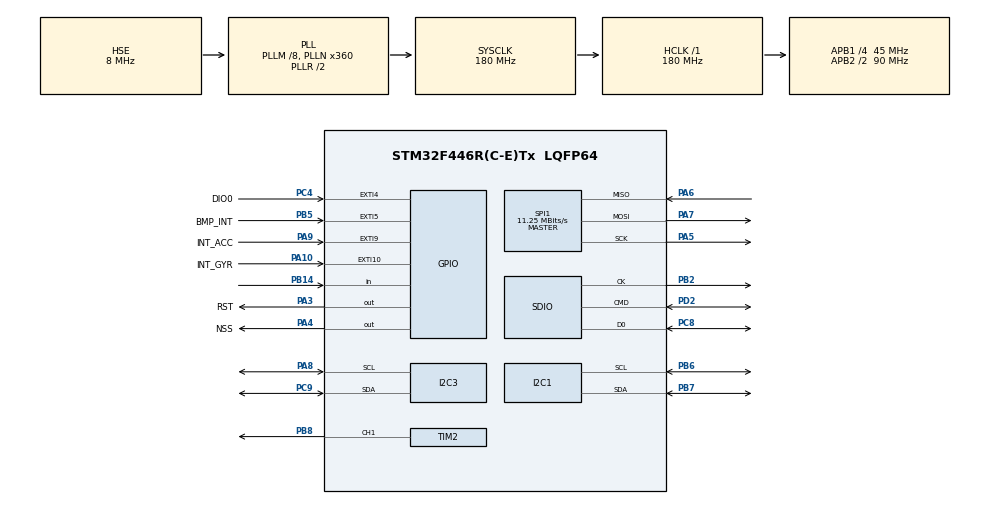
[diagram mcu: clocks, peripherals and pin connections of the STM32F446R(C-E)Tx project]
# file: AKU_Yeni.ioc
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Dma.Request0=SDIO_RX
Dma.Request1=SDIO_TX
Dma.SDIO_RX.0.Direction=DMA_PERIPH_TO_MEMORY
Dma.SDIO_RX.0.FIFOMode=DMA_FIFOMODE_ENABLE
Dma.SDIO_RX.0.FIFOThreshold=DMA_FIFO_THRESHOLD_FULL
Dma.SDIO_RX.0.Instance=DMA2_Stream3
Dma.SDIO_RX.0.MemBurst=DMA_MBURST_INC4
Dma.SDIO_RX.0.MemDataAlignment=DMA_MDATAALIGN_WORD
Dma.SDIO_RX.0.MemInc=DMA_MINC_ENABLE
Dma.SDIO_RX.0.Mode=DMA_PFCTRL
Dma.SDIO_RX.0.PeriphBurst=DMA_PBURST_INC4
Dma.SDIO_RX.0.PeriphDataAlignment=DMA_PDATAALIGN_WORD
Dma.SDIO_RX.0.PeriphInc=DMA_PINC_DISABLE
Dma.SDIO_RX.0.Priority=DMA_PRIORITY_HIGH
Dma.SDIO_TX.1.Direction=DMA_MEMORY_TO_PERIPH
Dma.SDIO_TX.1.FIFOMode=DMA_FIFOMODE_ENABLE
Dma.SDIO_TX.1.FIFOThreshold=DMA_FIFO_THRESHOLD_FULL
Dma.SDIO_TX.1.Instance=DMA2_Stream6
Dma.SDIO_TX.1.MemBurst=DMA_MBURST_INC4
Dma.SDIO_TX.1.MemDataAlignment=DMA_MDATAALIGN_WORD
Dma.SDIO_TX.1.MemInc=DMA_MINC_ENABLE
Dma.SDIO_TX.1.Mode=DMA_PFCTRL
Dma.SDIO_TX.1.PeriphBurst=DMA_PBURST_INC4
Dma.SDIO_TX.1.PeriphDataAlignment=DMA_PDATAALIGN_WORD
Dma.SDIO_TX.1.PeriphInc=DMA_PINC_DISABLE
Dma.SDIO_TX.1.Priority=DMA_PRIORITY_HIGH
FATFS.BSP.number=1
FATFS._FS_EXFAT=1
FATFS._USE_LFN=2
FATFS._USE_MUTEX=1
FATFS0.BSP.STBoard=false
FATFS0.BSP.api=Unknown
FATFS0.BSP.instance=PB14
FATFS0.BSP.ip=GPIO
FATFS0.BSP.mode=Input
FATFS0.BSP.name=Detect_SDIO
FATFS0.BSP.solution=PB14
FREERTOS.Tasks01=defaultTask,0,512,StartDefaultTask,Default,NULL,Dynamic,NULL,NULL;YRT_BMI088,-1,512,BMI088_fonk,Default,NULL,Dynamic,NULL,NULL;YRT_BMP581,0,512,BMP581_fonk,Default,NULL,Dynamic,NULL,NULL;YRT_TRANSMIT,1,512,Transmit_veri,Default,NULL,Dynamic,NULL,NULL;YRT_SDCARD,0,512,SDfonk,Default,NULL,Dynamic,NULL,NULL;YRT_ServoMotor,0,512,servo_fonk,Default,NULL,Dynamic,NULL,NULL
FREERTOS.configMINIMAL_STACK_SIZE=512
FREERTOS.configUSE_IDLE_HOOK=1
FREERTOS.configUSE_MALLOC_FAILED_HOOK=1
FREERTOS.configUSE_NEWLIB_REENTRANT=1
FREERTOS.configUSE_TICK_HOOK=1
Mcu.Family=STM32F4
Mcu.Name=STM32F446R(C-E)Tx
Mcu.Package=LQFP64
NVIC.DMA2_Stream3_IRQn=true\:5\:0\:false\:false\:true\:true\:false\:true\:true
NVIC.DMA2_Stream6_IRQn=true\:5\:0\:false\:false\:true\:true\:false\:true\:true
NVIC.PriorityGroup=NVIC_PRIORITYGROUP_4
NVIC.SDIO_IRQn=true\:5\:0\:false\:false\:true\:true\:true\:true\:true
NVIC.SPI1_IRQn=true\:5\:0\:false\:false\:true\:true\:true\:true\:true
NVIC.TIM1_UP_TIM10_IRQn=true\:15\:0\:false\:false\:true\:false\:false\:true\:true
NVIC.TimeBase=TIM1_UP_TIM10_IRQn
NVIC.TimeBaseIP=TIM1
PA10.GPIO_Label=INT_GYR
PA10.Signal=GPXTI10
PA13.Mode=Serial_Wire
PA13.Signal=SYS_JTMS-SWDIO
PA14.Mode=Serial_Wire
PA14.Signal=SYS_JTCK-SWCLK
PA3.GPIO_Label=RST
PA3.PinState=GPIO_PIN_SET
PA3.Signal=GPIO_Output
PA4.GPIO_Label=NSS
PA4.PinState=GPIO_PIN_SET
PA4.Signal=GPIO_Output
PA5.Mode=Full_Duplex_Master
PA5.Signal=SPI1_SCK
PA6.Mode=Full_Duplex_Master
PA6.Signal=SPI1_MISO
PA7.Mode=Full_Duplex_Master
PA7.Signal=SPI1_MOSI
PA8.GPIO_Pu=GPIO_PULLUP
PA8.Mode=I2C
PA8.Signal=I2C3_SCL
PA9.GPIO_Label=INT_ACC
PA9.Signal=GPXTI9
PB14.GPIO_PuPd=GPIO_PULLDOWN
PB14.Signal=GPIO_Input
PB2.GPIO_PuPd=GPIO_PULLUP
PB2.GPIO_Speed_High_Default=GPIO_SPEED_FREQ_VERY_HIGH
PB2.Mode=SD_1_bit
PB2.Signal=SDIO_CK
PB5.GPIO_Label=BMP_INT
PB5.Signal=GPXTI5
PB6.GPIO_Pu=GPIO_PULLUP
PB6.Mode=I2C
PB6.Signal=I2C1_SCL
PB7.GPIO_Pu=GPIO_PULLUP
PB7.Mode=I2C
PB7.Signal=I2C1_SDA
PB8.Signal=S_TIM2_CH1_ETR
PC4.GPIO_Label=DIO0
PC4.Signal=GPXTI4
PC8.GPIO_PuPd=GPIO_PULLUP
PC8.GPIO_Speed_High_Default=GPIO_SPEED_FREQ_VERY_HIGH
PC8.Mode=SD_1_bit
PC8.Signal=SDIO_D0
PC9.GPIO_Pu=GPIO_PULLUP
PC9.Mode=I2C
PC9.Signal=I2C3_SDA
PD2.GPIO_PuPd=GPIO_NOPULL
PD2.GPIO_Speed_High_Default=GPIO_SPEED_FREQ_VERY_HIGH
PD2.Mode=SD_1_bit
PD2.Signal=SDIO_CMD
PH0-OSC_IN.Mode=HSE-External-Oscillator
PH0-OSC_IN.Signal=RCC_OSC_IN
PH1-OSC_OUT.Mode=HSE-External-Oscillator
PH1-OSC_OUT.Signal=RCC_OSC_OUT
ProjectManager.HeapSize=0x200
ProjectManager.StackSize=0x400
ProjectManager.TargetToolchain=STM32CubeIDE
RCC.AHBFreq_Value=180000000
RCC.APB1CLKDivider=RCC_HCLK_DIV4
RCC.APB1Freq_Value=45000000
RCC.APB1TimFreq_Value=90000000
RCC.APB2CLKDivider=RCC_HCLK_DIV2
RCC.APB2Freq_Value=90000000
RCC.APB2TimFreq_Value=180000000
RCC.CortexFreq_Value=180000000
RCC.HCLKFreq_Value=180000000
RCC.HSE_VALUE=8000000
RCC.PLLM=8
RCC.PLLN=360
RCC.PLLQ=7
RCC.PLLSAIP=RCC_PLLSAIP_DIV4
RCC.PLLSourceVirtual=RCC_PLLSOURCE_HSE
RCC.SYSCLKFreq_VALUE=180000000
RCC.SYSCLKSource=RCC_SYSCLKSOURCE_PLLRCLK
RCC.USBFreq_Value=51428571.428571425
RCC.VCOOutputFreq_Value=360000000
SH.S_TIM2_CH1_ETR.0=TIM2_CH1,PWM Generation1 CH1
SPI1.BaudRatePrescaler=SPI_BAUDRATEPRESCALER_8
SPI1.CalculateBaudRate=11.25 MBits/s
SPI1.Direction=SPI_DIRECTION_2LINES
SPI1.Mode=SPI_MODE_MASTER
SPI1.VirtualType=VM_MASTER
TIM2.Channel-PWM\ Generation1\ CH1=TIM_CHANNEL_1
TIM2.Period=8400-1
TIM2.Prescaler=1680-1
VP_FATFS_VS_SDIO.Mode=SDIO
VP_FREERTOS_VS_CMSIS_V1.Mode=CMSIS_V1
VP_SYS_VS_tim1.Mode=TIM1
VP_TIM2_VS_ClockSourceINT.Mode=Internal
board=custom

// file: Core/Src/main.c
/* USER CODE BEGIN Header */
/**
  ******************************************************************************
  * @file           : main.c
  * @brief          : Main program body
  ******************************************************************************
  * @attention
  *
  * Copyright (c) 2025 STMicroelectronics.
  * All rights reserved.
  *
  * This software is licensed under terms that can be found in the LICENSE file
  * in the root directory of this software component.
  * If no LICENSE file comes with this software, it is provided AS-IS.
  *
  ******************************************************************************
  */
/* USER CODE END Header */
#include "main.h"
#include "cmsis_os.h"
#include "dma.h"
#include "fatfs.h"
#include "i2c.h"
#include "sdio.h"
#include "spi.h"
#include "tim.h"
#include "gpio.h"

void SystemClock_Config(void);
void MX_FREERTOS_Init(void);

/* USER CODE BEGIN 0 */
void Set_Servo_Angle (TIM_HandleTypeDef *htim, uint32_t channel, uint8_t angle){
	uint32_t pulse_lenght = 210 + (angle*(1050-210)/180);
	__HAL_TIM_SET_COMPARE(htim,channel,pulse_lenght);
}
/* USER CODE END 0 */

int main(void)
{

  /* MCU Configuration--------------------------------------------------------*/

  /* Reset of all peripherals, Initializes the Flash interface and the Systick. */
  HAL_Init();

  /* Configure the system clock */
  SystemClock_Config();

  /* Initialize all configured peripherals */
  MX_GPIO_Init();
  MX_DMA_Init();
  MX_I2C1_Init();
  MX_I2C3_Init();
  MX_SPI1_Init();
  MX_SDIO_SD_Init();
  MX_FATFS_Init();
  MX_TIM2_Init();
  /* USER CODE BEGIN 2 */
  HAL_SD_DeInit(&hsd);
  HAL_Delay(10);
  if (HAL_SD_Init(&hsd) == HAL_OK) {
      if (HAL_SD_InitCard(&hsd) == HAL_OK) {
          f_mount(&SDFatFS, SDPath, 1);
      }
  }

  /* USER CODE END 2 */

  /* Call init function for freertos objects (in cmsis_os2.c) */
  MX_FREERTOS_Init();

  /* Start scheduler */
  osKernelStart();

  /* We should never get here as control is now taken by the scheduler */

  /* Infinite loop */
  while (1)
  {

  }
}

void SystemClock_Config(void)
{
  RCC_OscInitTypeDef RCC_OscInitStruct = {0};
  RCC_ClkInitTypeDef RCC_ClkInitStruct = {0};

  /** Configure the main internal regulator output voltage
  */
  __HAL_RCC_PWR_CLK_ENABLE();
  __HAL_PWR_VOLTAGESCALING_CONFIG(PWR_REGULATOR_VOLTAGE_SCALE1);

  /** Initializes the RCC Oscillators according to the specified parameters
  * in the RCC_OscInitTypeDef structure.
  */
  RCC_OscInitStruct.OscillatorType = RCC_OSCILLATORTYPE_HSE;
  RCC_OscInitStruct.HSEState = RCC_HSE_ON;
  RCC_OscInitStruct.PLL.PLLState = RCC_PLL_ON;
  RCC_OscInitStruct.PLL.PLLSource = RCC_PLLSOURCE_HSE;
  RCC_OscInitStruct.PLL.PLLM = 8;
  RCC_OscInitStruct.PLL.PLLN = 360;
  RCC_OscInitStruct.PLL.PLLP = RCC_PLLP_DIV2;
  RCC_OscInitStruct.PLL.PLLQ = 7;
  RCC_OscInitStruct.PLL.PLLR = 2;
  if (HAL_RCC_OscConfig(&RCC_OscInitStruct) != HAL_OK)
  {
    Error_Handler();
  }

  /** Activate the Over-Drive mode
  */
  if (HAL_PWREx_EnableOverDrive() != HAL_OK)
  {
    Error_Handler();
  }

  /** Initializes the CPU, AHB and APB buses clocks
  */
  RCC_ClkInitStruct.ClockType = RCC_CLOCKTYPE_HCLK|RCC_CLOCKTYPE_SYSCLK
                              |RCC_CLOCKTYPE_PCLK1|RCC_CLOCKTYPE_PCLK2;
  RCC_ClkInitStruct.SYSCLKSource = RCC_SYSCLKSOURCE_PLLRCLK;
  RCC_ClkInitStruct.AHBCLKDivider = RCC_SYSCLK_DIV1;
  RCC_ClkInitStruct.APB1CLKDivider = RCC_HCLK_DIV4;
  RCC_ClkInitStruct.APB2CLKDivider = RCC_HCLK_DIV2;

  if (HAL_RCC_ClockConfig(&RCC_ClkInitStruct, FLASH_LATENCY_5) != HAL_OK)
  {
    Error_Handler();
  }
}

void HAL_TIM_PeriodElapsedCallback(TIM_HandleTypeDef *htim)
{
  if (htim->Instance == TIM1)
  {
    HAL_IncTick();
  }
}

void Error_Handler(void)
{
  __disable_irq();
  while (1)
  {
  }
}

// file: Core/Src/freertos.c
/* USER CODE BEGIN Header */
/**
  ******************************************************************************
  * File Name          : freertos.c
  * Description        : Code for freertos applications
  ******************************************************************************
  * @attention
  *
  * Copyright (c) 2025 STMicroelectronics.
  * All rights reserved.
  *
  * This software is licensed under terms that can be found in the LICENSE file
  * in the root directory of this software component.
  * If no LICENSE file comes with this software, it is provided AS-IS.
  *
  ******************************************************************************
  */
/* USER CODE END Header */

#include "FreeRTOS.h"
#include "task.h"
#include "main.h"
#include "cmsis_os.h"

/* USER CODE BEGIN Includes */
#include "LoRa.h"
#include "BMI088.h"
#include "bmp5_defs.h"
#include "bmp5.h"
#include "common.h"
#include "i2c.h"  // Bu dosyada hi2c3 tanımlıdır
#include "spi.h"
#include <string.h>
#include "fatfs.h"
#include "ff.h"
#include <stdbool.h>
#include "tim.h"
#include "control.h"
/* USER CODE END Includes */

/* USER CODE BEGIN PD */
	SemaphoreHandle_t spiMutex;
	SemaphoreHandle_t sdMutex;

/* USER CODE END PD */

/* USER CODE BEGIN Variables */
BMI088 imu;
FIL file;
LoRa myLoRa;
uint8_t LoRa_stat = 0;
uint8_t buffer[128];
FRESULT res;
UINT bytesWritten;

float roll = 0.0f, pitch = 0.0f, yaw = 0.0f;
char logBuf[256]={0};

struct bmp5_sensor_data sensor_data;
extern float pressure, temperature;

/* USER CODE END Variables */
osThreadId defaultTaskHandle;
osThreadId YRT_BMI088Handle;
osThreadId YRT_BMP581Handle;
osThreadId YRT_TRANSMITHandle;
osThreadId YRT_SDCARDHandle;
osThreadId YRT_ServoMotorHandle;

void StartDefaultTask(void const * argument);
void BMI088_fonk(void const * argument);
void BMP581_fonk(void const * argument);
void Transmit_veri(void const * argument);
void SDfonk(void const * argument);
void servo_fonk(void const * argument);

void MX_FREERTOS_Init(void); /* (MISRA C 2004 rule 8.1) */

/* GetIdleTaskMemory prototype (linked to static allocation support) */
void vApplicationGetIdleTaskMemory( StaticTask_t **ppxIdleTaskTCBBuffer, StackType_t **ppxIdleTaskStackBuffer, uint32_t *pulIdleTaskStackSize );

/* Hook prototypes */
void vApplicationIdleHook(void);
void vApplicationTickHook(void);
void vApplicationMallocFailedHook(void);

/* USER CODE BEGIN 2 */
__weak void vApplicationIdleHook( void )
{
   /* vApplicationIdleHook() will only be called if configUSE_IDLE_HOOK is set
   to 1 in FreeRTOSConfig.h. It will be called on each iteration of the idle
   task. It is essential that code added to this hook function never attempts
   to block in any way (for example, call xQueueReceive() with a block time
   specified, or call vTaskDelay()). If the application makes use of the
   vTaskDelete() API function (as this demo application does) then it is also
   important that vApplicationIdleHook() is permitted to return to its calling
   function, because it is the responsibility of the idle task to clean up
   memory allocated by the kernel to any task that has since been deleted. */
}
/* USER CODE END 2 */

/* USER CODE BEGIN 3 */
__weak void vApplicationTickHook( void )
{
   /* This function will be called by each tick interrupt if
   configUSE_TICK_HOOK is set to 1 in FreeRTOSConfig.h. User code can be
   added here, but the tick hook is called from an interrupt context, so
   code must not attempt to block, and only the interrupt safe FreeRTOS API
   functions can be used (those that end in FromISR()). */
}
/* USER CODE END 3 */

/* USER CODE BEGIN 5 */
__weak void vApplicationMallocFailedHook(void)
{
   /* vApplicationMallocFailedHook() will only be called if
   configUSE_MALLOC_FAILED_HOOK is set to 1 in FreeRTOSConfig.h. It is a hook
   function that will get called if a call to pvPortMalloc() fails.
   pvPortMalloc() is called internally by the kernel whenever a task, queue,
   timer or semaphore is created. It is also called by various parts of the
   demo application. If heap_1.c or heap_2.c are used, then the size of the
   heap available to pvPortMalloc() is defined by configTOTAL_HEAP_SIZE in
   FreeRTOSConfig.h, and the xPortGetFreeHeapSize() API function can be used
   to query the size of free heap space that remains (although it does not
   provide information on how the remaining heap might be fragmented). */
}
/* USER CODE END 5 */

/* USER CODE BEGIN GET_IDLE_TASK_MEMORY */
static StaticTask_t xIdleTaskTCBBuffer;
static StackType_t xIdleStack[configMINIMAL_STACK_SIZE];

void vApplicationGetIdleTaskMemory( StaticTask_t **ppxIdleTaskTCBBuffer, StackType_t **ppxIdleTaskStackBuffer, uint32_t *pulIdleTaskStackSize )
{
  *ppxIdleTaskTCBBuffer = &xIdleTaskTCBBuffer;
  *ppxIdleTaskStackBuffer = &xIdleStack[0];
  *pulIdleTaskStackSize = configMINIMAL_STACK_SIZE;
  /* place for user code */
}
/* USER CODE END GET_IDLE_TASK_MEMORY */

void MX_FREERTOS_Init(void) {

  /* USER CODE BEGIN RTOS_MUTEX */
  /* add mutexes, ... */

	spiMutex = xSemaphoreCreateMutex();
	sdMutex = xSemaphoreCreateMutex();
  /* USER CODE END RTOS_MUTEX */

  /* Create the thread(s) */
  /* definition and creation of defaultTask */
  osThreadDef(defaultTask, StartDefaultTask, osPriorityNormal, 0, 512);
  defaultTaskHandle = osThreadCreate(osThread(defaultTask), NULL);

  /* definition and creation of YRT_BMI088 */
  osThreadDef(YRT_BMI088, BMI088_fonk, osPriorityBelowNormal, 0, 512);
  YRT_BMI088Handle = osThreadCreate(osThread(YRT_BMI088), NULL);

  /* definition and creation of YRT_BMP581 */
  osThreadDef(YRT_BMP581, BMP581_fonk, osPriorityNormal, 0, 512);
  YRT_BMP581Handle = osThreadCreate(osThread(YRT_BMP581), NULL);

  /* definition and creation of YRT_TRANSMIT */
  osThreadDef(YRT_TRANSMIT, Transmit_veri, osPriorityAboveNormal, 0, 512);
  YRT_TRANSMITHandle = osThreadCreate(osThread(YRT_TRANSMIT), NULL);

  /* definition and creation of YRT_SDCARD */
  osThreadDef(YRT_SDCARD, SDfonk, osPriorityNormal, 0, 512);
  YRT_SDCARDHandle = osThreadCreate(osThread(YRT_SDCARD), NULL);

  /* definition and creation of YRT_ServoMotor */
  osThreadDef(YRT_ServoMotor, servo_fonk, osPriorityNormal, 0, 512);
  YRT_ServoMotorHandle = osThreadCreate(osThread(YRT_ServoMotor), NULL);

}

void StartDefaultTask(void const * argument)
{
  for(;;)
  {
    osDelay(1);
  }
}

void BMI088_fonk(void const * argument)
{
  /* USER CODE BEGIN BMI088_fonk */
	//  BMI088_Init_I2C(&imu, &hi2c3, 0x18 << 1, 0x69 << 1);
  /* Infinite loop */
  for(;;)
  {

	    // BMI088_ReadAccelerometer(&imu);
	 	// BMI088_ReadGyroscope(&imu);     /*BURADA ALINANA VERİLERİ SERVO TASK'INE GÖNDER*/
      	// rollpitchyaw(&imu);

	 vTaskDelay(pdMS_TO_TICKS(50));
  }
  /* USER CODE END BMI088_fonk */
}

void BMP581_fonk(void const * argument)
{
  /* USER CODE BEGIN BMP581_fonk */
  /* Infinite loop */
  for(;;)
  {
	  BMP581();
	  vTaskDelay(pdMS_TO_TICKS(100));
  }
  /* USER CODE END BMP581_fonk */
}

void Transmit_veri(void const * argument)
{
  /* USER CODE BEGIN Transmit_veri */

	    // SPI ile Lora işlem
	 myLoRa = configureLoRa();
	 if(LoRa_init(&myLoRa)== LORA_OK){
	    LoRa_stat = 1;
	    }
	   LoRa_startReceiving(&myLoRa);

	   snprintf(logBuf,sizeof(logBuf), "ivme_x: %.3f,\nivme_y: %.3f,\nivme_z: %.3f,\nroll: %.3f,\npitch: %.3f,\nyaw: %.3f\n\r", imu.acc_mps2[0], imu.acc_mps2[1], imu.acc_mps2[2],
	   	 		  roll, pitch, yaw);

	   LoRa_transmit(&myLoRa, (uint8_t*)logBuf, strlen(logBuf), 10);
  /* Infinite loop */
  for(;;)
  {
	  snprintf(logBuf,sizeof(logBuf), "ivme_x: %.3f,\nivme_y: %.3f,\nivme_z: %.3f,\nroll: %.3f,\npitch: %.3f,\nyaw: %.3f\n\r", imu.acc_mps2[0], imu.acc_mps2[1], imu.acc_mps2[2],
	 	   	 		  roll, pitch, yaw);
	  if (xSemaphoreTake(spiMutex, portMAX_DELAY) == pdTRUE) {

	 	   LoRa_transmit(&myLoRa, (uint8_t*)logBuf, strlen(logBuf), 10);
    osDelay(1);
    xSemaphoreGive(spiMutex); // işi bitince bırak
    vTaskDelay(pdMS_TO_TICKS(200));
   }
  }
  /* USER CODE END Transmit_veri */
}

void SDfonk(void const * argument)
{
  /* USER CODE BEGIN SDfonk */

//	bool isCardInserted = true;
//	extern SD_HandleTypeDef hsd;
//	  if (xSemaphoreTake(sdMutex, portMAX_DELAY) == pdTRUE) {
//	FATFS fs;
//	FIL file;
//	UINT bw;
//	FRESULT res;
//	 HAL_Delay(100);  // Kartı taktıktan sonra SDIO stabil hale gelsin
//
//
//	    if (HAL_SD_Init(&hsd) != HAL_OK) {
//	        printf("SD Init ERROR!\r\n");
//	        vTaskDelete(NULL);
//	    }
//
//	    if (f_mount(&fs, "0:", 1) != FR_OK) {
//	        printf("f_mount failed\r\n");
//	        vTaskDelete(NULL);
//	    }
//
//	    if (f_open(&file, "test.txt", FA_CREATE_ALWAYS | FA_WRITE) == FR_OK) {
//	        f_write(&file, "Hello SD Card!\r\n", 17, &bw);
//	        f_close(&file);
//	        printf("SD Write Success\r\n");
//	    } else {
//	        printf("f_open failed\r\n");
//	    }

  /* Infinite loop */
  for(;;)
  {

//	  	             // Dosyayı aç (yoksa oluştur)
//	  	             res = f_open(&file, "zeynep.txt", FA_OPEN_APPEND | FA_WRITE);
//	  	             if(res==FR_OK)
//	  	             {
//	  	            	f_write(&file, logBuf, strlen(logBuf), &bytesWritten);
//	  	            	 f_close(&file);
//	  	  	           xSemaphoreGive(sdMutex);
//
//	  	             }
//	  	         }
    osDelay(1);
  }
  /* USER CODE END SDfonk */
}

void servo_fonk(void const * argument)
{
  /* USER CODE BEGIN servo_fonk */
  control_init(&imu);      /* BMI VE PWM INIT YAPILDI*/

  /* Infinite loop */
  for(;;)
  {

  control_data(imu);
	  // for(uint8_t angle=0;angle<=180;angle+=10){
	  // Set_Servo_Angle(&htim2, TIM_CHANNEL_1, angle);
	  // HAL_Delay(10);
	  // }
	  // for(uint8_t angle=180;angle>0;angle-=10){
	  // 	  Set_Servo_Angle(&htim2, TIM_CHANNEL_1, angle);
	  // 	  HAL_Delay(10);
	  // 	  }

    osDelay(1);
  }
  /* USER CODE END servo_fonk */
}
